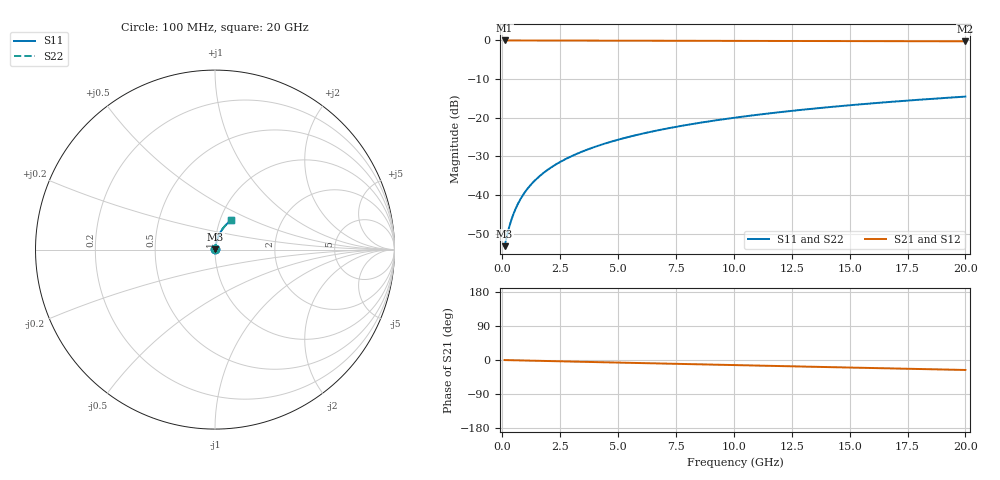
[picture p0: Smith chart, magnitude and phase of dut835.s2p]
! Touchstone file exported from HFSS 2026.1.0
!  File:  C:/ffzhzh/LocalFiles/Ansys_Project_Files/temp_train_BSMRDL_835_1783170314_51560.aedt
!  Generated:  09:06:26 PM Jul  4, 2026
!  Design:  BSMRDL
!  Project:  temp_train_BSMRDL_835_1783170314_51560
! Variables:
!  h_bsmrdl = 4.64um
!  h_ox = 20um
!  h_rdl = 5um
!  h_sub = 80um
!  h_tmrdl = 5um
!  h_tsv = 80um
!  h_via = 3um
!  l_bsmrdl = 412.87um
!  l_sub = 812.87um
!  l_tmrdl = 200um
!  m_sub = 200um
!  pitch = 34.04um
!  r_tsv = 6um
!  s_tmrdl = 10um
!  w_bsmrdl = 19.46um
!  w_sub = 500um
!  w_tmrdl = 12um
!  x_tsv_center1 = 206um
!  x_tsv_center2 = 638.33um
!  x_tsv_center3 = 850.33um
!  x_tsv_center4 = 1282.66um
!  x_tsv_center5 = 1494.66um
!  x_tsv_center6 = 1926.99um
# GHz S MA R 50.000000
! Terminal data exported
! Port[1] = BSM_RDL1_1_T1
! Port[2] = BSM_RDL1_1_T2
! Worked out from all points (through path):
!   200 points, 100 MHz to 20 GHz, reference 50 ohm
!   highest |S21| = -0.02 dB at 100 MHz (marker M1); lowest = -0.2 dB at 20 GHz (marker M2)
!   group delay of S21, straight-line fit = 3.65 ps
!   lowest |S11| = -53.2 dB at 100 MHz (marker M3), VSWR 1.00, Z = 50.2 + j0.124 ohm
!   |S11| at or under -10 dB: start of sweep to end of sweep
!   |S22| runs from -53.2 to -14.5 dB; largest |S21 - S12| = 5.6e-15
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0.1  0.002175 34.5  0.9982 -0.1  0.9982 -0.1  0.002175 34.5
! Gamma 0 0 0 0
! Port Impedance 50 0 50 0
0.2  0.002967 50.4  0.9981 -0.3  0.9981 -0.3  0.002959 50.5
0.3  0.003869 59.9  0.998 -0.4  0.998 -0.4  0.003862 60.0
0.4  0.004842 65.7  0.9979 -0.6  0.9979 -0.6  0.004838 65.9
0.5  0.005854 69.6  0.9978 -0.7  0.9978 -0.7  0.005853 69.7
0.6  0.006888 72.2  0.9978 -0.8  0.9978 -0.8  0.006889 72.3
0.8  0.008986 75.5  0.9977 -1.1  0.9977 -1.1  0.008991 75.6
1.1  0.01215 78.0  0.9975 -1.5  0.9975 -1.5  0.01216 78.0
1.5  0.01637 79.5  0.9973 -2.1  0.9973 -2.1  0.01637 79.5
1.8  0.0195 79.9  0.9972 -2.5  0.9972 -2.5  0.01951 79.9
2.1  0.02262 80.2  0.997 -2.9  0.997 -2.9  0.02262 80.2
2.7  0.0288 80.2  0.9965 -3.7  0.9965 -3.7  0.0288 80.2
3.5  0.03693 79.7  0.9958 -4.8  0.9958 -4.8  0.03693 79.7
4.2  0.04395 79.1  0.9951 -5.7  0.9951 -5.7  0.04395 79.1
5  0.05189 78.4  0.9943 -6.8  0.9943 -6.8  0.05189 78.4
5.9  0.0607 77.4  0.9933 -8.0  0.9933 -8.0  0.0607 77.4
6.8  0.06941 76.4  0.9923 -9.2  0.9923 -9.2  0.06941 76.4
8.3  0.08371 74.7  0.9905 -11.2  0.9905 -11.2  0.08371 74.7
10.1  0.1006 72.7  0.9883 -13.5  0.9883 -13.5  0.1006 72.7
13.4  0.1306 68.8  0.9838 -17.8  0.9838 -17.8  0.1306 68.8
16.7  0.1596 64.8  0.9787 -22.1  0.9787 -22.1  0.1596 64.9
20  0.1873 60.9  0.9731 -26.3  0.9731 -26.3  0.1873 60.9
